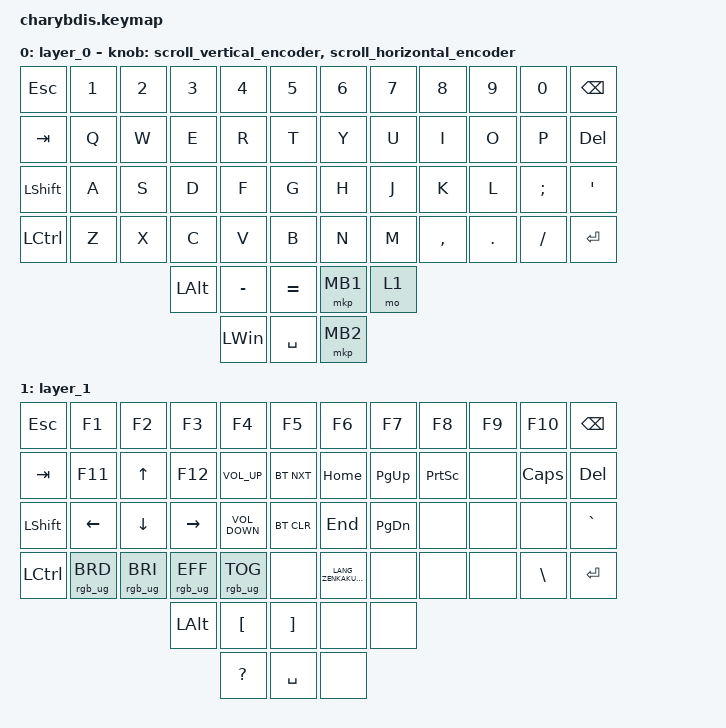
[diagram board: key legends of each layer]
#include <dt-bindings/zmk/mouse.h>
#include <input/processors.dtsi>
#include <zephyr/dt-bindings/input/input-event-codes.h>
#include <behaviors.dtsi>
#include <dt-bindings/zmk/bt.h>
#include <dt-bindings/zmk/keys.h>
#include <dt-bindings/zmk/pointing.h>
#include <dt-bindings/zmk/rgb.h>

#define ZMK_POINTING_DEFAULT_MOVE_VAL 1000 // 600
#define ZMK_POINTING_DEFAULT_SCRL_VAL 12   // 10

&lt {
    tapping-term-ms = <200>;
    flavor = "balanced";
    quick-tap-ms = <150>;
};

&mmv_input_listener { input-processors = <&zip_xy_scaler 2 1>; };

&msc_input_listener { input-processors = <&zip_scroll_scaler 2 1>; };

&msc {
    acceleration-exponent = <0>;      // 0
    time-to-max-speed-ms = <100>;       // 300
    delay-ms = <0>;                   // 0
};

&mmv {
    time-to-max-speed-ms = <500>;
    acceleration-exponent = <1>;
    trigger-period-ms = <16>;
};

/ {
    // 上下滚动编码器行为

    scroll_vertical_encoder: scroll_vertical_encoder {
        compatible = "zmk,behavior-sensor-rotate";
        #sensor-binding-cells = <0>;
        bindings = <&msc SCRL_DOWN>, <&msc SCRL_UP>;

        tap-ms = <100>;
    };

    // 左右滚动编码器行为

    scroll_horizontal_encoder: scroll_horizontal_encoder {
        compatible = "zmk,behavior-sensor-rotate";
        #sensor-binding-cells = <0>;
        bindings = <&msc SCRL_LEFT>, <&msc SCRL_RIGHT>;

        tap-ms = <100>;
    };

    behaviors {
    };

    macros {
        To1_macro: To1_macro {
            compatible = "zmk,behavior-macro";
            label = "To1_macro";
            #binding-cells = <0>;
            bindings = <&rgb_ug RGB_EFF &rgb_ug RGB_COLOR_HSB(128,100,50) &to 1>;
        };

        To1_macro_A: To1_macro_A {
            compatible = "zmk,behavior-macro";
            label = "To1_macro_A";
            #binding-cells = <0>;
            bindings = <&rgb_ug RGB_COLOR_HSB(128,100,50) &to 1>;
        };

        To0_macro: To0_macro {
            compatible = "zmk,behavior-macro";
            label = "To0_macro";
            #binding-cells = <0>;
            bindings = <&rgb_ug RGB_EFR &to 0>;
        };

        To2_macro_A: To2_macro_A {
            compatible = "zmk,behavior-macro";
            label = "To2_macro_A";
            #binding-cells = <0>;
            bindings = <&rgb_ug RGB_COLOR_HSB(250,100,50) &to 0>;
        };

        To2_macro: To2_macro {
            compatible = "zmk,behavior-macro";
            label = "To2_macro";
            #binding-cells = <0>;
            bindings = <&rgb_ug RGB_EFF &rgb_ug RGB_COLOR_HSB(250,100,50) &to 0>;
        };
    };

    keymap {
        compatible = "zmk,keymap";

        layer_0 {
            bindings = <
&kp ESC         &kp N1  &kp N2  &kp N3        &kp N4        &kp N5       &kp N6    &kp N7  &kp N8     &kp N9   &kp N0    &kp BACKSPACE
&kp TAB         &kp Q   &kp W   &kp E         &kp R         &kp T        &kp Y     &kp U   &kp I      &kp O    &kp P     &kp DELETE
&kp LEFT_SHIFT  &kp A   &kp S   &kp D         &kp F         &kp G        &kp H     &kp J   &kp K      &kp L    &kp SEMI  &kp SQT
&kp LCTRL       &kp Z   &kp X   &kp C         &kp V         &kp B        &kp N     &kp M   &kp COMMA  &kp DOT  &kp FSLH  &kp ENTER
                                &kp LEFT_ALT  &kp MINUS     &kp EQUAL    &mkp MB1  &mo 1
                                              &kp LEFT_WIN  &kp SPACE    &mkp MB2
            >;

            sensor-bindings =
                <&scroll_vertical_encoder>,
                // 编码器1：上下滚动,,,
                <&scroll_horizontal_encoder>;

            // 编码器2：左右滚动
        };

        layer_1 {
            bindings = <
&kp ESC         &kp F1           &kp F2           &kp F3           &kp F4             &kp F5               &kp F6                   &kp F7     &kp F8           &kp F9  &kp F10   &kp BACKSPACE
&kp TAB         &kp F11          &kp UP           &kp F12          &kp C_VOLUME_UP    &bt BT_NXT           &kp HOME                 &kp PG_UP  &kp PRINTSCREEN  &none   &kp CAPS  &kp DELETE
&kp LEFT_SHIFT  &kp LEFT         &kp DOWN         &kp RIGHT        &kp C_VOLUME_DOWN  &bt BT_CLR           &kp END                  &kp PG_DN  &none            &none   &none     &kp GRAVE
&kp LCTRL       &rgb_ug RGB_BRD  &rgb_ug RGB_BRI  &rgb_ug RGB_EFF  &rgb_ug RGB_TOG    &none                &kp LANG_ZENKAKUHANKAKU  &none      &none            &none   &kp BSLH  &kp ENTER
                                                  &kp LEFT_ALT     &kp LEFT_BRACKET   &kp RIGHT_BRACKET    &none                    &none
                                                                   &kp QUESTION       &kp SPACE            &none
            >;
        };

        /* layer_2 {
            bindings = <
&none  &none   &none    &none   &none         &none         &kp N1         &none         &none     &none  &none   &to 0
&none  &none   &none    &none   &none         &none         &none         &none          &rgb_ug RGB_BRD &rgb_ug RGB_BRI  &rgb_ug RGB_EFF   &rgb_ug RGB_TOG
&none  &none   &none    &none   &none         &none         &none         &mkp LCLK     &mkp RCLK  &none  &none   &none
&none  &none   &none    &none   &bt BT_NXT  &bt BT_CLR    &none         &none         &none     &none  &none   &none
                                   &none         &none         &none         &none         &none
                                                 &none         &none         &none
            >;
       
            
        };

       Mouse {
            bindings = <
&none        &none         &none         &none         &none      &none         &none       &none      &none         &none         &none         &none
&none        &bt BT_SEL 0  &bt BT_SEL 1  &bt BT_SEL 3  &none      &bt BT_CLR    &bt BT_CLR  &none      &bt BT_SEL 2  &bt BT_SEL 1  &bt BT_SEL 0  &none
&none        &trans        &trans        &mkp MCLK     &trans     &none         &none       &trans     &mkp MCLK     &trans        &trans        &none
&bootloader  &trans        &mkp RCLK     &mo 4         &mkp LCLK  &mo 5         &mo 5       &mkp LCLK  &mo 4         &mkp RCLK     &trans        &bootloader
                                         &mo 5         &mkp LCLK  &mkp RCLK     &mkp RCLK   &mkp LCLK
                                                       &none      &trans        &trans
            >;

            
        };

        layer_4 {
            bindings = <
&trans  &trans  &trans     &trans     &trans     &trans       &trans     &trans     &trans     &trans     &trans  &trans
&trans  &trans  &trans     &trans     &trans     &trans       &trans     &trans     &trans     &trans     &trans  &trans
&trans  &trans  &trans     &mkp MCLK  &trans     &trans       &trans     &trans     &mkp MCLK  &trans     &trans  &trans
&trans  &trans  &mkp RCLK  &trans     &mkp LCLK  &trans       &trans     &mkp LCLK  &trans     &mkp RCLK  &trans  &trans
                           &trans     &mkp LCLK  &mkp RCLK    &mkp RCLK  &mkp LCLK
                                      &trans     &trans       &trans
            >;
                
                
               
        };

        layer_5 {
            bindings = <
&trans  &trans  &trans     &trans     &trans     &trans       &trans     &trans     &trans     &trans     &trans  &trans
&trans  &trans  &trans     &trans     &trans     &trans       &trans     &trans     &trans     &trans     &trans  &trans
&trans  &trans  &trans     &mkp MCLK  &trans     &trans       &trans     &trans     &mkp MCLK  &trans     &trans  &trans
&trans  &trans  &mkp RCLK  &trans     &mkp LCLK  &trans       &trans     &mkp LCLK  &trans     &mkp RCLK  &trans  &trans
                           &trans     &mkp LCLK  &mkp RCLK    &mkp RCLK  &mkp LCLK
                                      &trans     &trans       &trans
            >;
                
                
        };*/
    };
};
